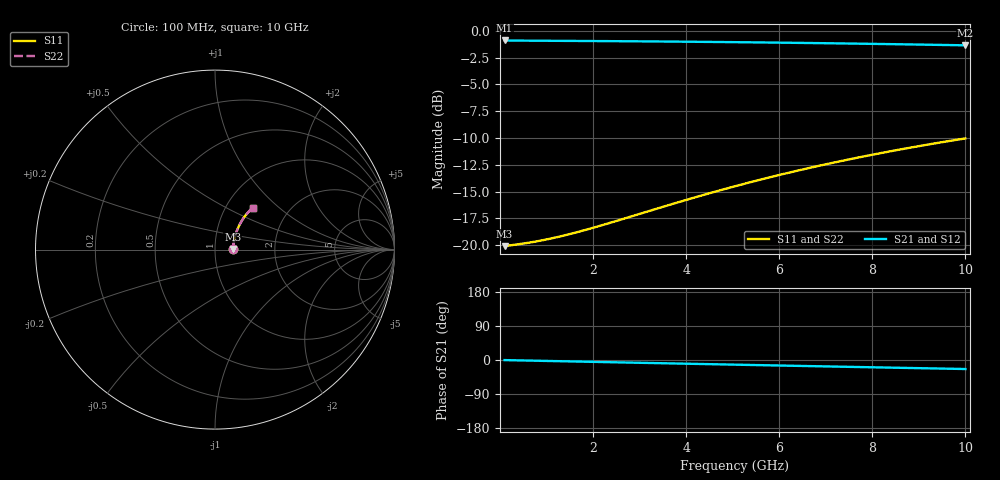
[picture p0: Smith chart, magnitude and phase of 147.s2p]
# Hz S RI R 50.00
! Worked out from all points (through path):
!   100 points, 100 MHz to 10 GHz, reference 50 ohm
!   highest |S21| = -0.90 dB at 100 MHz (marker M1); lowest = -1.4 dB at 10 GHz (marker M2)
!   group delay of S21, straight-line fit = 6.62 ps
!   lowest |S11| = -20.1 dB at 100 MHz (marker M3), VSWR 1.22, Z = 61 + j0.341 ohm
!   |S11| at or under -10 dB: start of sweep to end of sweep
!   |S22| runs from -20.1 to -10.0 dB; largest |S21 - S12| = 0
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1e8  0.0989 0.00277  0.9011 -0.00388  0.9011 -0.00388  0.0989 0.00277
6e8  0.1012 0.0165  0.8988 -0.0232  0.8988 -0.0232  0.1012 0.0165
9e8  0.1023 0.0247  0.8976 -0.0347  0.8976 -0.0347  0.1023 0.0247
1.1e9  0.1031 0.0302  0.8968 -0.0424  0.8968 -0.0424  0.1031 0.0302
1.3e9  0.104 0.0356  0.8959 -0.05  0.8959 -0.05  0.104 0.0356
1.5e9  0.1049 0.041  0.8949 -0.0576  0.8949 -0.0576  0.1049 0.041
1.8e9  0.1064 0.0491  0.8934 -0.069  0.8934 -0.069  0.1064 0.0491
2.4e9  0.1099 0.0651  0.8897 -0.0917  0.8897 -0.0917  0.1099 0.0651
3.4e9  0.1173 0.0912  0.8819 -0.1289  0.8819 -0.1289  0.1173 0.0912
4.3e9  0.1257 0.114  0.8731 -0.1617  0.8731 -0.1617  0.1257 0.114
4.7e9  0.1299 0.1239  0.8686 -0.176  0.8686 -0.176  0.1299 0.1239
5.1e9  0.1344 0.1335  0.8639 -0.1901  0.8639 -0.1901  0.1344 0.1335
5.5e9  0.1393 0.143  0.8587 -0.204  0.8587 -0.204  0.1393 0.143
5.9e9  0.1444 0.1523  0.8533 -0.2177  0.8533 -0.2177  0.1444 0.1523
6.3e9  0.1498 0.1614  0.8476 -0.2313  0.8476 -0.2313  0.1498 0.1614
6.7e9  0.1554 0.1702  0.8416 -0.2446  0.8416 -0.2446  0.1554 0.1702
7.1e9  0.1613 0.1788  0.8353 -0.2576  0.8353 -0.2576  0.1613 0.1788
7.5e9  0.1675 0.1872  0.8288 -0.2704  0.8288 -0.2704  0.1675 0.1872
7.9e9  0.1739 0.1953  0.822 -0.283  0.822 -0.283  0.1739 0.1953
8.4e9  0.1822 0.2051  0.8132 -0.2984  0.8132 -0.2984  0.1822 0.2051
9.2e9  0.1962 0.2199  0.7983 -0.3221  0.7983 -0.3221  0.1962 0.2199
1e10  0.2109 0.2335  0.7826 -0.3448  0.7826 -0.3448  0.2109 0.2335
